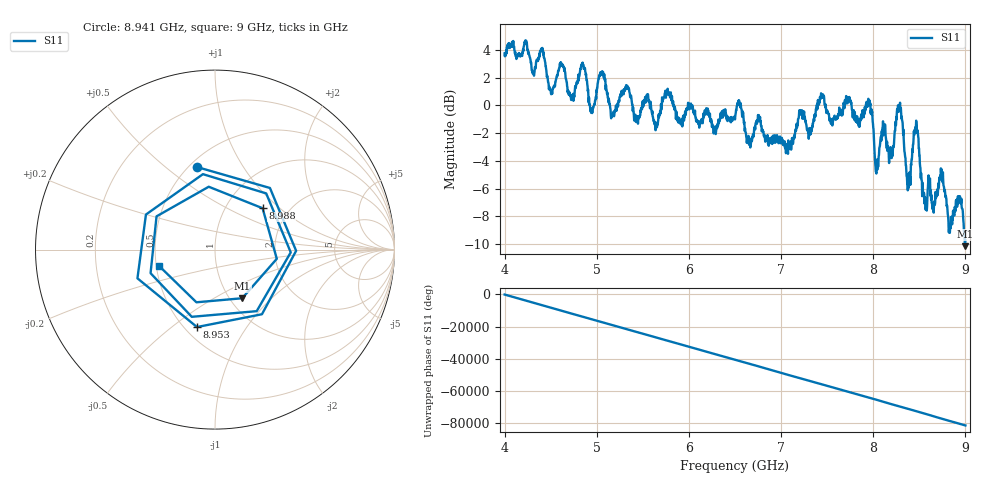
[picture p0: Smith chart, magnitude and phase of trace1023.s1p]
! Created with skrf 1.8.0 (http://scikit-rf.org).
# Hz S RI R 50.0
!freq ReS11 ImS11
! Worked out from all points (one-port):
!   1601 points, 4 GHz to 9 GHz, reference 50 ohm
!   lowest |S11| = -10.2 dB at 8.994 GHz (marker M1), VSWR 1.90, Z = 57 - j34.2 ohm
!   |S11| at or under -10 dB: 8.993523 GHz to 8.998037 GHz (4.514 MHz wide, 0.0502 % of centre)
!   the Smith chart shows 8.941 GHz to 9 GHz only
!   S11 on the Smith chart (normalised r, x): 8.941 GHz: 0.55, +0.65; 8.953 GHz: 0.58, -0.62; 8.988 GHz: 1.48, +0.78; 9 GHz: 0.52, -0.10
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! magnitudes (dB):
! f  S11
! 4 GHz  3.8
! 4.409 GHz  4.2
! 4.506 GHz  0.8
! 4.625 GHz  3.0
! 4.734 GHz  0.6
! 4.853 GHz  3.0
! 4.944 GHz  -0.5
! 5.047 GHz  2.3
! 5.169 GHz  -0.7
! 5.25 GHz  0.6
! 5.875 GHz  -0.8
! 6.5 GHz  -1.0
! 7.125 GHz  -2.4
! 7.441 GHz  0.7
! 7.75 GHz  0.4
! 7.966 GHz  0.0
! 8.038 GHz  -4.5
! 8.106 GHz  -1.1
! 8.197 GHz  -3.6
! 8.284 GHz  0.0
! 8.375 GHz  -6.1
! 8.466 GHz  -1.1
! 8.562 GHz  -6.6
! 8.941 GHz  -6.6
! 8.953 GHz  -7.1
! 8.988 GHz  -9.1
! 8.994 GHz  -10.2
! 9 GHz  -9.7
